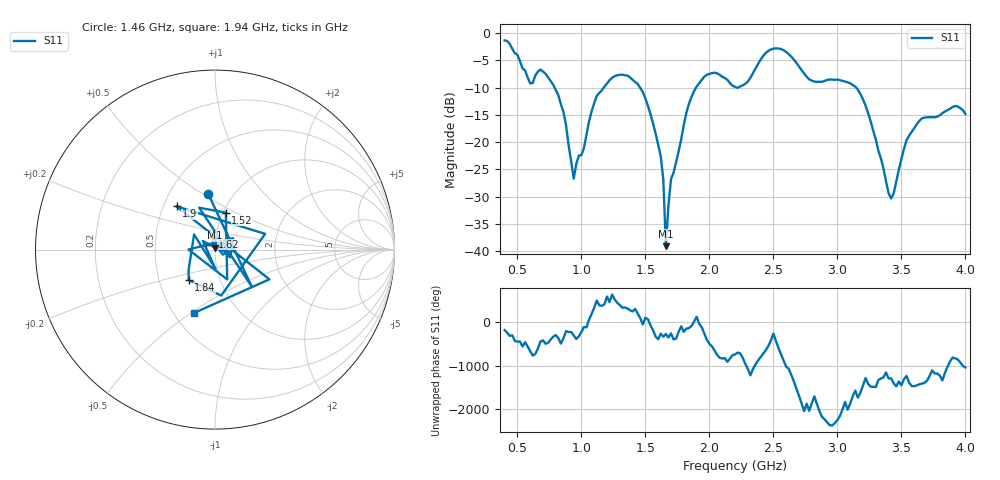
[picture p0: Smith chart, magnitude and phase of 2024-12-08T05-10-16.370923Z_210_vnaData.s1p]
!Created with skrf (http://scikit-rf.org).
# Hz S RI R 50.0
!freq ReS11 ImS11
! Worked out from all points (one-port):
!   181 points, 400 MHz to 4 GHz, reference 50 ohm
!   lowest |S11| = -39.1 dB at 1.66 GHz (marker M1), VSWR 1.02, Z = 49.9 + j1.1 ohm
!   |S11| at or under -10 dB: 790.1 MHz to 1.175 GHz (384.8 MHz wide, 39.2 % of centre); 1.458 GHz to 1.896 GHz (437.9 MHz wide, 26.1 % of centre); 3.146 GHz to end of sweep (the widest 3 of 4)
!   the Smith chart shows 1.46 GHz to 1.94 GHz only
!   S11 on the Smith chart (normalised r, x): 1.46 GHz: 0.77, +0.53; 1.52 GHz: 1.03, +0.44; 1.62 GHz: 0.96, +0.14; 1.84 GHz: 0.71, -0.25; 1.9 GHz: 0.58, +0.31; 1.94 GHz: 0.63, -0.52
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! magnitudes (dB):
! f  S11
! 400 MHz  -1.4
! 600 MHz  -9.3
! 720 MHz  -7.5
! 860 MHz  -14.5
! 940 MHz  -26.7
! 1.12 GHz  -11.5
! 1.3 GHz  -7.7
! 1.46 GHz  -10.1
! 1.52 GHz  -13.4
! 1.62 GHz  -22.6
! 1.64 GHz  -26.9
! 1.66 GHz  -39.1
! 1.7 GHz  -26.8
! 1.76 GHz  -21.7
! 1.84 GHz  -13.0
! 1.9 GHz  -9.8
! 1.94 GHz  -8.6
! 2.04 GHz  -7.3
! 2.2 GHz  -9.9
! 2.48 GHz  -3.0
! 2.66 GHz  -4.9
! 2.8 GHz  -8.7
! 3.1 GHz  -9.2
! 3.22 GHz  -13.3
! 3.42 GHz  -30.4
! 3.56 GHz  -18.8
! 3.66 GHz  -15.7
! 4 GHz  -14.8
